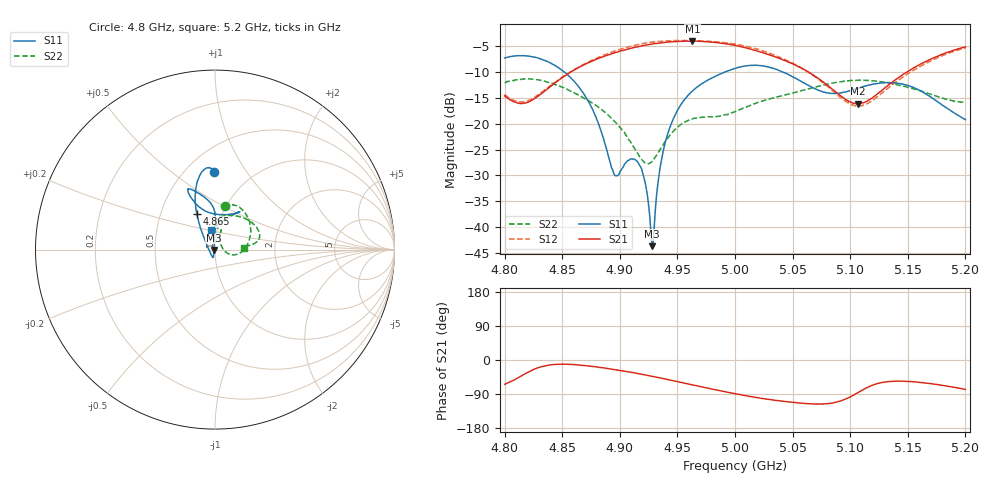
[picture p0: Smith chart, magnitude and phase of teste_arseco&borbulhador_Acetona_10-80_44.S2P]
! Network Analyzer HP8722D
! Hewlett-Packard
! Data name: Linha & Wilkinson
! Saver's name: Rodrigo Anjos
! Comments: Teste da utilização de aquisição
! continua pelo VNA HP8722D
! Time and date: 25/4/2025 15:38
!  Frequency  S11  S21  S12  S22
# HZ  S  MA R 50
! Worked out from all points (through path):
!   401 points, 4.8 GHz to 5.2 GHz, reference 50 ohm
!   highest |S21| = -3.95 dB at 4.963 GHz (marker M1); lowest = -16.1 dB at 5.107 GHz (marker M2)
!   lowest |S11| = -43.7 dB at 4.928 GHz (marker M3), VSWR 1.01, Z = 49.4 - j0.156 ohm
!   |S11| at or under -10 dB: 4.852 GHz to 4.991 GHz (139 MHz wide, 2.82 % of centre); 5.042 GHz to end of sweep
!   |S22| runs from -27.8 to -11.3 dB; largest |S21 - S12| = 1.2
!   S11 on the Smith chart (normalised r, x): 4.8 GHz: 0.68, +0.73; 4.865 GHz: 0.76, +0.32; 5.2 GHz: 0.94, +0.21
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4.8e9  0.4342 90.5  0.1865 -63.9  0.1915 69.6  0.2501 77.4
4.82e9  0.4531 96.8  0.1614 -32.5  0.1672 98.3  0.2716 61.9
4.845e9  0.3592 107.1  0.255 -11.4  0.2582 119.4  0.2386 34.4
4.865e9  0.223 116.9  0.3542 -13.1  0.3582 120.9  0.1881 11.0
4.867e9  0.2081 118.1  0.364 -13.9  0.3689 120.6  0.1827 8.7
4.88e9  0.1107 128.3  0.4239 -18.4  0.4336 118.3  0.1486 -5.2
4.895e9  0.03238 -172.7  0.4862 -25.0  0.502 113.8  0.1069 -15.9
4.909e9  0.04557 -106.7  0.5372 -32.0  0.5625 107.7  0.06774 -14.9
4.917e9  0.03974 -101.8  0.5627 -36.5  0.5905 103.5  0.04823 -1.7
4.922e9  0.02702 -105.0  0.5775 -39.2  0.6043 100.7  0.04163 15.2
4.928e9  0.006506 -165.9  0.5931 -43.0  0.6183 97.1  0.04317 40.5
4.93e9  0.01068 123.8  0.5983 -44.3  0.62 95.9  0.04628 48.4
4.934e9  0.03144 98.3  0.6045 -46.7  0.6303 93.3  0.05391 58.9
4.945e9  0.1023 90.0  0.6221 -53.8  0.6402 86.3  0.08097 69.9
4.963e9  0.2079 90.4  0.6345 -65.6  0.6384 74.8  0.1114 71.6
5e9  0.3447 109.1  0.575 -89.1  0.5922 50.8  0.131 88.4
5.03e9  0.353 115.0  0.4662 -104.2  0.4821 33.9  0.1739 85.5
5.067e9  0.2257 105.1  0.3023 -116.0  0.2992 23.5  0.2234 57.2
5.107e9  0.2218 63.7  0.1566 -85.4  0.1484 57.7  0.2637 24.2
5.134e9  0.2509 57.0  0.2411 -56.8  0.2269 88.7  0.2479 12.4
5.168e9  0.1877 68.6  0.4142 -61.8  0.3975 85.2  0.1961 7.0
5.2e9  0.1098 100.3  0.557 -77.6  0.5461 70.1  0.1608 3.9
